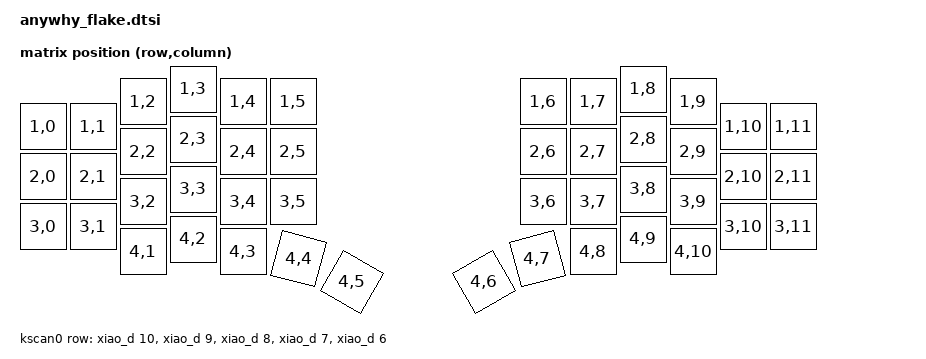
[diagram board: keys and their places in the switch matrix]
#include <dt-bindings/zmk/matrix_transform.h>
#include <physical_layouts.dtsi>

/ {
    kscan0: kscan0 {
        compatible = "zmk,kscan-gpio-matrix";
        diode-direction = "col2row";
        wakeup-source;

        row-gpios
        = <&xiao_d 10 (GPIO_ACTIVE_HIGH | GPIO_PULL_DOWN)>
        , <&xiao_d 9  (GPIO_ACTIVE_HIGH | GPIO_PULL_DOWN)>
        , <&xiao_d 8  (GPIO_ACTIVE_HIGH | GPIO_PULL_DOWN)>
        , <&xiao_d 7  (GPIO_ACTIVE_HIGH | GPIO_PULL_DOWN)>
        , <&xiao_d 6  (GPIO_ACTIVE_HIGH | GPIO_PULL_DOWN)>
        ;
    };

    chosen {
        zmk,kscan = &kscan0;
        zmk,physical-layout = &small_layout;
    };

    small_layout: small_layout {
        compatible = "zmk,physical-layout";
        display-name = "Flake M Layout";
        transform = <&small_transform>;

        keys  //                     w   h    x    y     rot    rx    ry
            = <&key_physical_attrs 100 100    0   75       0     0     0>
            , <&key_physical_attrs 100 100  100   75       0     0     0>
            , <&key_physical_attrs 100 100  200   25       0     0     0>
            , <&key_physical_attrs 100 100  300    0       0     0     0>
            , <&key_physical_attrs 100 100  400   25       0     0     0>
            , <&key_physical_attrs 100 100  500   25       0     0     0>
            , <&key_physical_attrs 100 100 1000   25       0     0     0>
            , <&key_physical_attrs 100 100 1100   25       0     0     0>
            , <&key_physical_attrs 100 100 1200    0       0     0     0>
            , <&key_physical_attrs 100 100 1300   25       0     0     0>
            , <&key_physical_attrs 100 100 1400   75       0     0     0>
            , <&key_physical_attrs 100 100 1500   75       0     0     0>
            , <&key_physical_attrs 100 100    0  175       0     0     0>
            , <&key_physical_attrs 100 100  100  175       0     0     0>
            , <&key_physical_attrs 100 100  200  125       0     0     0>
            , <&key_physical_attrs 100 100  300  100       0     0     0>
            , <&key_physical_attrs 100 100  400  125       0     0     0>
            , <&key_physical_attrs 100 100  500  125       0     0     0>
            , <&key_physical_attrs 100 100 1000  125       0     0     0>
            , <&key_physical_attrs 100 100 1100  125       0     0     0>
            , <&key_physical_attrs 100 100 1200  100       0     0     0>
            , <&key_physical_attrs 100 100 1300  125       0     0     0>
            , <&key_physical_attrs 100 100 1400  175       0     0     0>
            , <&key_physical_attrs 100 100 1500  175       0     0     0>
            , <&key_physical_attrs 100 100    0  275       0     0     0>
            , <&key_physical_attrs 100 100  100  275       0     0     0>
            , <&key_physical_attrs 100 100  200  225       0     0     0>
            , <&key_physical_attrs 100 100  300  200       0     0     0>
            , <&key_physical_attrs 100 100  400  225       0     0     0>
            , <&key_physical_attrs 100 100  500  225       0     0     0>
            , <&key_physical_attrs 100 100 1000  225       0     0     0>
            , <&key_physical_attrs 100 100 1100  225       0     0     0>
            , <&key_physical_attrs 100 100 1200  200       0     0     0>
            , <&key_physical_attrs 100 100 1300  225       0     0     0>
            , <&key_physical_attrs 100 100 1400  275       0     0     0>
            , <&key_physical_attrs 100 100 1500  275       0     0     0>
            , <&key_physical_attrs 100 100  200  325       0     0     0>
            , <&key_physical_attrs 100 100  300  300       0     0     0>
            , <&key_physical_attrs 100 100  400  325       0     0     0>
            , <&key_physical_attrs 100 100  500  325    1500   500   425>
            , <&key_physical_attrs 100 100  600  370    3000   630   460>
            , <&key_physical_attrs 100 100  900  370 (-3000)   970   460>
            , <&key_physical_attrs 100 100 1000  325 (-1500)  1100   425>
            , <&key_physical_attrs 100 100 1100  325       0     0     0>
            , <&key_physical_attrs 100 100 1200  300       0     0     0>
            , <&key_physical_attrs 100 100 1300  325       0     0     0>
            ;
    };

    small_transform: small_transform {
        compatible = "zmk,matrix-transform";
        columns = <12>;
        rows = <4>;
        map = <
            RC(1,0) RC(1,1) RC(1,2) RC(1,3) RC(1,4) RC(1,5)  RC(1,6) RC(1,7) RC(1,8) RC(1,9) RC(1,10) RC(1,11)
            RC(2,0) RC(2,1) RC(2,2) RC(2,3) RC(2,4) RC(2,5)  RC(2,6) RC(2,7) RC(2,8) RC(2,9) RC(2,10) RC(2,11)
            RC(3,0) RC(3,1) RC(3,2) RC(3,3) RC(3,4) RC(3,5)  RC(3,6) RC(3,7) RC(3,8) RC(3,9) RC(3,10) RC(3,11)
                    RC(4,1) RC(4,2) RC(4,3) RC(4,4) RC(4,5)  RC(4,6) RC(4,7) RC(4,8) RC(4,9) RC(4,10)
        >;
    };

    position_map {
        compatible = "zmk,physical-layout-position-map";
        complete;

        small_layout {
            physical-layout = <&small_layout>;
            positions
                = <52  0  1  2  3  4  5  6  7  8  9 53>
                , <54 10 11 12 13 14 15 16 17 18 19 55>
                , <56 20 21 22 23 24 25 26 27 28 29 57>
                , <   30 31 32 33 34 35 36 37 38 39   >
                ;
        };
    };
};
